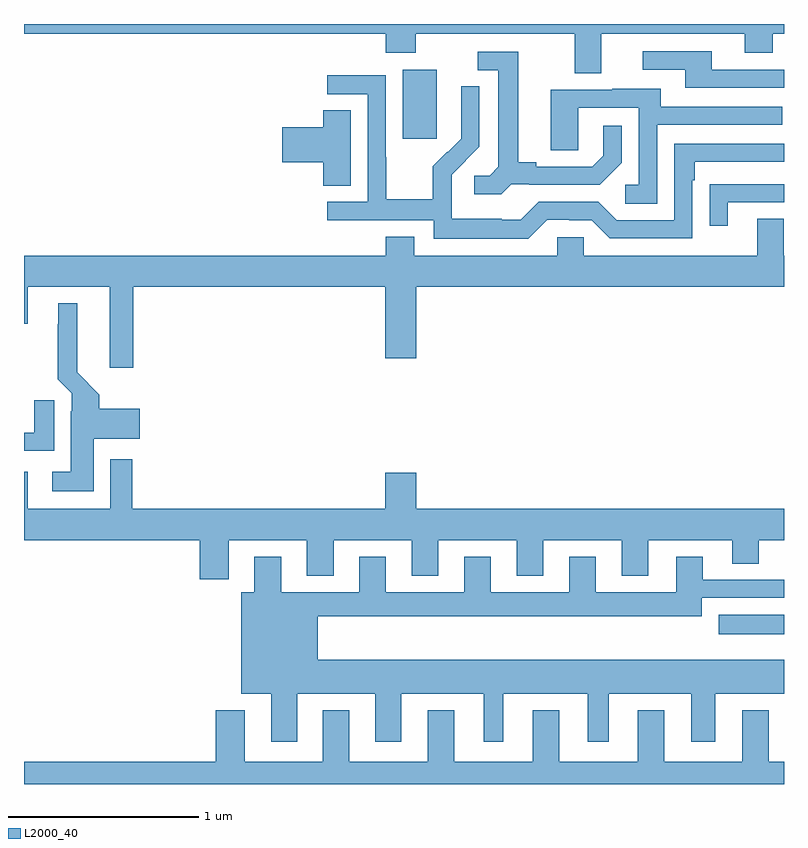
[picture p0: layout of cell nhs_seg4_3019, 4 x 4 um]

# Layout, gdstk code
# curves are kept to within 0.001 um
import gdstk
lib = gdstk.Library(unit=1e-6, precision=1e-09)
def R(c, l, rs):  # rectangles x0, y0, x1, y1
    for r in rs: c.add(gdstk.rectangle(r[:2], r[2:], *l))
def P(c, l, *ps):  # polygons
    for p in ps: c.add(gdstk.Polygon(p, *l))
L2000_40 = (2000, 40)

nhs_seg4_3019 = lib.new_cell('nhs_seg4_3019')
R(nhs_seg4_3019, L2000_40, [(274.656,765.689,275,765.79), (272.993,768.297,273.172,768.658)])
P(nhs_seg4_3019, L2000_40, [(274.039,768.848),(274.793,768.848),(274.793,768.749),(274.941,768.749),(274.941,768.848),(275,768.848),(275,768.9),(271,768.9),(271,768.848),(272.903,768.848),(272.903,768.749),(273.063,768.749),(273.063,768.848),(273.899,768.848),(273.899,768.64),(274.039,768.64)],
  [(275,768.66),(274.621,768.66),(274.621,768.756),(274.257,768.756),(274.257,768.66),(274.481,768.66),(274.481,768.564),(275,768.564)],
  [(273.564,768.057),(273.658,768.057),(273.658,768.054),(274.03,768.054),(274.146,768.17),(274.146,768.364),(274.049,768.364),(274.049,768.207),(273.992,768.15),(273.697,768.15),(273.697,768.173),(273.601,768.173),(273.601,768.753),(273.387,768.753),(273.387,768.657),(273.497,768.657),(273.497,768.149),(273.45,768.102),(273.369,768.102),(273.369,768.005),(273.512,768.005)],
  [(273.753,767.871),(273.869,767.871),(273.869,767.868),(273.987,767.868),(274.083,767.772),(274.518,767.772),(274.518,768.077),(274.531,768.077),(274.531,768.174),(275,768.174),(275,768.27),(274.422,768.27),(274.422,767.868),(274.119,767.868),(274.023,767.964),(273.708,767.964),(273.615,767.871),(273.515,767.871),(273.515,767.875),(273.252,767.875),(273.252,768.009),(273.25,768.009),(273.25,768.106),(273.396,768.254),(273.396,768.572),(273.3,768.572),(273.3,768.418),(273.302,768.418),(273.302,768.296),(273.231,768.225),(273.228,768.228),(273.151,768.151),(273.151,767.977),(272.907,767.977),(272.907,768.2),(272.904,768.2),(272.904,768.63),(272.595,768.63),(272.595,768.531),(272.808,768.531),(272.808,767.964),(272.595,767.964),(272.595,767.868),(273.156,767.868),(273.156,767.771),(273.653,767.771)],
  [(274.332,768.369),(274.991,768.369),(274.991,768.465),(274.351,768.465),(274.351,768.559),(274.097,768.559),(274.097,768.555),(273.773,768.555),(273.773,768.235),(273.918,768.235),(273.918,768.459),(274.236,768.459),(274.236,768.054),(274.164,768.054),(274.164,767.953),(274.332,767.953)],
  [(272.719,768.446),(272.576,768.446),(272.576,768.356),(272.358,768.356),(272.358,768.173),(272.576,768.173),(272.576,768.049),(272.719,768.049)],
  [(274.705,767.961),(275,767.961),(275,768.057),(274.711,768.057),(274.711,768.056),(274.609,768.056),(274.609,767.838),(274.705,767.838)],
  [(271.574,767.516),(272.9,767.516),(272.9,767.142),(273.064,767.142),(273.064,767.516),(275,767.516),(275,767.68),(274.999,767.68),(274.999,767.875),(274.859,767.875),(274.859,767.68),(273.945,767.68),(273.945,767.778),(273.807,767.778),(273.807,767.68),(273.055,767.68),(273.055,767.779),(272.903,767.779),(272.903,767.68),(271,767.68),(271,767.322),(271.021,767.322),(271.021,767.516),(271.451,767.516),(271.451,767.091),(271.574,767.091)],
  [(271.366,766.718),(271.609,766.718),(271.609,766.876),(271.397,766.876),(271.397,766.95),(271.279,767.068),(271.279,767.431),(271.181,767.431),(271.181,767.321),(271.178,767.321),(271.178,767.029),(271.251,766.956),(271.251,766.862),(271.247,766.862),(271.247,766.543),(271.149,766.543),(271.149,766.442),(271.366,766.442)],
  [(271.159,766.921),(271.055,766.921),(271.055,766.749),(271,766.749),(271,766.653),(271.159,766.653)],
  [(272.077,766.184),(272.489,766.184),(272.489,765.995),(272.629,765.995),(272.629,766.184),(273.041,766.184),(273.041,765.995),(273.181,765.995),(273.181,766.184),(273.593,766.184),(273.593,765.995),(273.733,765.995),(273.733,766.184),(274.145,766.184),(274.145,765.995),(274.285,765.995),(274.285,766.184),(274.727,766.184),(274.727,766.06),(274.867,766.06),(274.867,766.184),(275,766.184),(275,766.348),(273.064,766.348),(273.064,766.537),(272.9,766.537),(272.9,766.348),(271.571,766.348),(271.571,766.609),(271.455,766.609),(271.455,766.348),(271.021,766.348),(271.021,766.543),(271,766.543),(271,766.184),(271.925,766.184),(271.925,765.978),(272.077,765.978)],
  [(272.437,765.374),(272.849,765.374),(272.849,765.123),(272.986,765.123),(272.986,765.374),(273.419,765.374),(273.419,765.123),(273.523,765.123),(273.523,765.374),(273.968,765.374),(273.968,765.123),(274.078,765.123),(274.078,765.374),(274.511,765.374),(274.511,765.123),(274.639,765.123),(274.639,765.374),(275,765.374),(275,765.553),(272.545,765.553),(272.545,765.782),(274.567,765.782),(274.567,765.879),(275,765.879),(275,765.975),(274.573,765.975),(274.573,766.096),(274.433,766.096),(274.433,765.91),(274.009,765.91),(274.009,766.096),(273.869,766.096),(273.869,765.91),(273.457,765.91),(273.457,766.096),(273.317,766.096),(273.317,765.91),(272.905,765.91),(272.905,766.096),(272.765,766.096),(272.765,765.91),(272.353,765.91),(272.353,766.096),(272.213,766.096),(272.213,765.91),(272.144,765.91),(272.144,765.374),(272.3,765.374),(272.3,765.123),(272.437,765.123)],
  [(272.713,765.289),(272.573,765.289),(272.573,765.016),(272.161,765.016),(272.161,765.289),(272.009,765.289),(272.009,765.016),(271,765.016),(271,764.9),(275,764.9),(275,765.016),(274.921,765.016),(274.921,765.289),(274.781,765.289),(274.781,765.016),(274.369,765.016),(274.369,765.289),(274.229,765.289),(274.229,765.016),(273.817,765.016),(273.817,765.289),(273.677,765.289),(273.677,765.016),(273.265,765.016),(273.265,765.289),(273.125,765.289),(273.125,765.016),(272.713,765.016)])

lib.write_gds('nhs_seg4_3019.gds')
